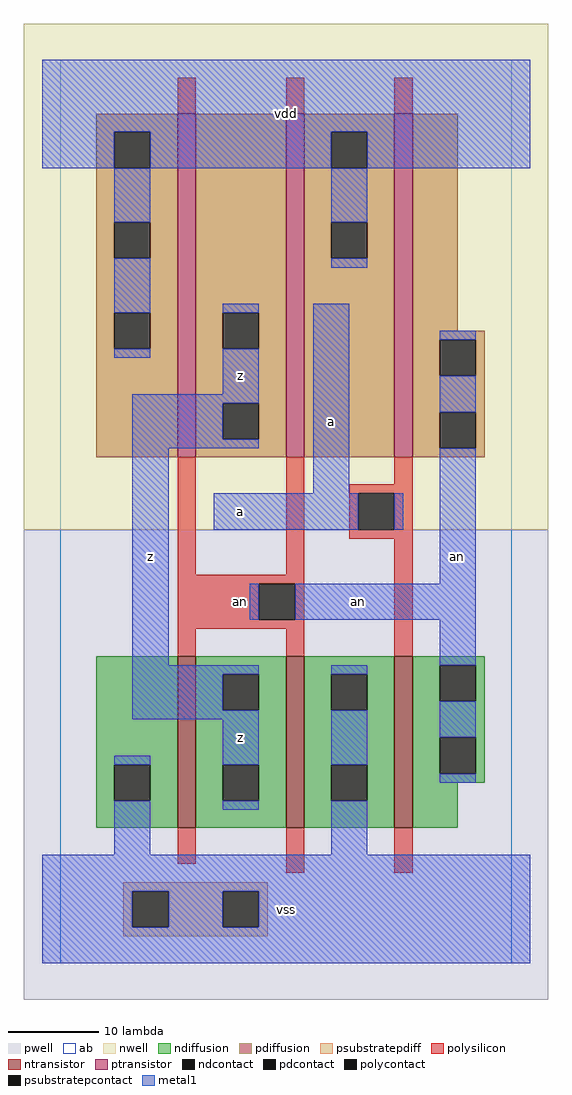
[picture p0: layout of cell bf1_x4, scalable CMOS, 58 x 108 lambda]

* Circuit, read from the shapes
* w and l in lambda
.subckt bf1_x4 a an vdd vss z
M1 z an vss vss nfet w=19 l=2 m=2
M2 an a vss vss nfet w=19 l=2
M3 z an vdd n1 pfet w=38 l=2 m=2
M4 an a vdd n1 pfet w=38 l=2
.ends

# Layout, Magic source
magic
tech scmos
<< ab >>
rect 0 0 50 100
<< pwell >>
rect -4 -4 54 48
<< nwell >>
rect -4 48 54 104
<< polysilicon >>
rect 13 94 15 98
rect 25 94 27 98
rect 37 94 39 98
rect 13 43 15 56
rect 25 43 27 56
rect 37 53 39 56
rect 32 52 39 53
rect 32 48 33 52
rect 37 48 39 52
rect 32 47 39 48
rect 13 42 27 43
rect 13 38 22 42
rect 26 38 27 42
rect 13 37 27 38
rect 13 34 15 37
rect 25 34 27 37
rect 37 34 39 47
rect 13 11 15 15
rect 25 10 27 15
rect 37 10 39 15
<< ndiffusion >>
rect 4 22 13 34
rect 4 18 6 22
rect 10 18 13 22
rect 4 15 13 18
rect 15 32 25 34
rect 15 28 18 32
rect 22 28 25 32
rect 15 22 25 28
rect 15 18 18 22
rect 22 18 25 22
rect 15 15 25 18
rect 27 32 37 34
rect 27 28 30 32
rect 34 28 37 32
rect 27 22 37 28
rect 27 18 30 22
rect 34 18 37 22
rect 27 15 37 18
rect 39 33 47 34
rect 39 29 42 33
rect 46 29 47 33
rect 39 25 47 29
rect 39 21 42 25
rect 46 21 47 25
rect 39 20 47 21
rect 39 15 44 20
<< pdiffusion >>
rect 4 92 13 94
rect 4 88 6 92
rect 10 88 13 92
rect 4 82 13 88
rect 4 78 6 82
rect 10 78 13 82
rect 4 72 13 78
rect 4 68 6 72
rect 10 68 13 72
rect 4 56 13 68
rect 15 72 25 94
rect 15 68 18 72
rect 22 68 25 72
rect 15 62 25 68
rect 15 58 18 62
rect 22 58 25 62
rect 15 56 25 58
rect 27 92 37 94
rect 27 88 30 92
rect 34 88 37 92
rect 27 82 37 88
rect 27 78 30 82
rect 34 78 37 82
rect 27 56 37 78
rect 39 70 44 94
rect 39 69 47 70
rect 39 65 42 69
rect 46 65 47 69
rect 39 61 47 65
rect 39 57 42 61
rect 46 57 47 61
rect 39 56 47 57
<< metal1 >>
rect -2 92 52 100
rect -2 88 6 92
rect 10 88 30 92
rect 34 88 52 92
rect 6 82 10 88
rect 6 72 10 78
rect 30 82 34 88
rect 30 77 34 78
rect 6 67 10 68
rect 18 72 22 73
rect 18 63 22 68
rect 8 62 22 63
rect 8 58 18 62
rect 8 57 22 58
rect 8 33 12 57
rect 28 52 32 73
rect 42 69 46 70
rect 42 61 46 65
rect 17 48 33 52
rect 37 48 38 52
rect 42 42 46 57
rect 21 38 22 42
rect 26 38 46 42
rect 42 33 46 38
rect 8 32 22 33
rect 8 28 18 32
rect 8 27 22 28
rect 6 22 10 23
rect 6 12 10 18
rect 18 22 22 27
rect 18 17 22 18
rect 30 32 34 33
rect 30 22 34 28
rect 42 25 46 29
rect 42 20 46 21
rect 30 12 34 18
rect -2 8 52 12
rect -2 4 8 8
rect 12 4 18 8
rect 22 4 52 8
rect -2 0 52 4
<< ntransistor >>
rect 13 15 15 34
rect 25 15 27 34
rect 37 15 39 34
<< ptransistor >>
rect 13 56 15 94
rect 25 56 27 94
rect 37 56 39 94
<< polycontact >>
rect 33 48 37 52
rect 22 38 26 42
<< ndcontact >>
rect 6 18 10 22
rect 18 28 22 32
rect 18 18 22 22
rect 30 28 34 32
rect 30 18 34 22
rect 42 29 46 33
rect 42 21 46 25
<< pdcontact >>
rect 6 88 10 92
rect 6 78 10 82
rect 6 68 10 72
rect 18 68 22 72
rect 18 58 22 62
rect 30 88 34 92
rect 30 78 34 82
rect 42 65 46 69
rect 42 57 46 61
<< psubstratepcontact >>
rect 8 4 12 8
rect 18 4 22 8
<< psubstratepdiff >>
rect 7 8 23 9
rect 7 4 8 8
rect 12 4 18 8
rect 22 4 23 8
rect 7 3 23 4
<< labels >>
rlabel polysilicon 20 40 20 40 6 an
rlabel metal1 20 25 20 25 6 z
rlabel metal1 10 45 10 45 6 z
rlabel metal1 20 50 20 50 6 a
rlabel metal1 20 65 20 65 6 z
rlabel metal1 25 6 25 6 6 vss
rlabel metal1 30 60 30 60 6 a
rlabel metal1 25 94 25 94 6 vdd
rlabel metal1 33 40 33 40 6 an
rlabel metal1 44 45 44 45 6 an
<< end >>
